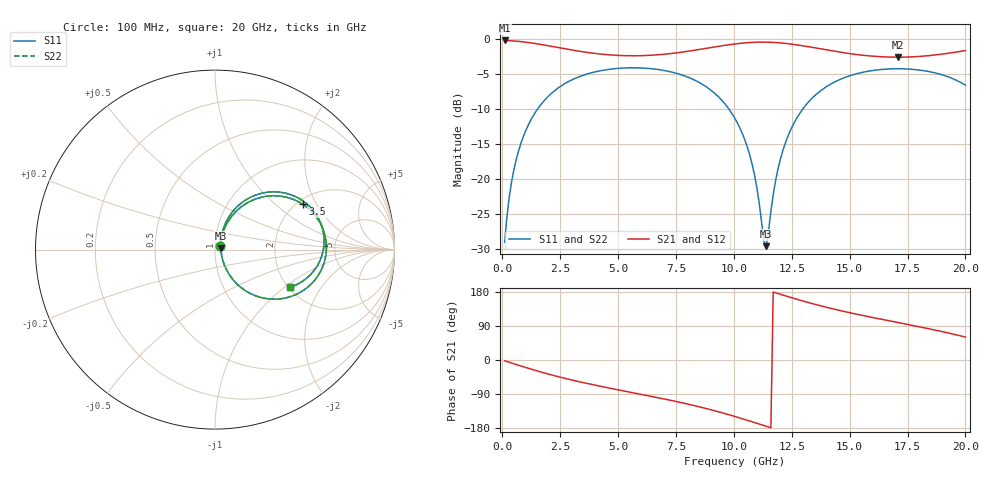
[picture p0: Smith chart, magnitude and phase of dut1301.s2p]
! Touchstone file exported from HFSS 2026.1.0
!  File:  C:/ffzhzh/LocalFiles/Ansys_Project_Files/temp_train_TSV_RDL_1301_1783333581_38820.aedt
!  Generated:  06:41:46 PM Jul  6, 2026
!  Design:  TSV_RDL
!  Project:  temp_train_TSV_RDL_1301_1783333581_38820
! Variables:
!  h_bsmrdl = 4.64um
!  h_ox = 20um
!  h_rdl = 5um
!  h_sub = 82.64um
!  h_tmrdl = 4.46um
!  h_tsv = 82.64um
!  h_via = 3um
!  l_bsmrdl = 678.13um
!  l_sub = 5134.24um
!  l_tmrdl = 649.44um
!  m_sub = 200um
!  pitch = 52.25um
!  r_tsv = 5.97um
!  s_tmrdl = 10um
!  w_bsmrdl = 22.42um
!  w_sub = 500um
!  w_tmrdl = 11.61um
!  x_tsv_center1 = 655.245um
!  x_tsv_center2 = 1355.795um
!  x_tsv_center3 = 2016.845um
!  x_tsv_center4 = 2717.395um
!  x_tsv_center5 = 3378.445um
!  x_tsv_center6 = 4078.995um
# GHz S MA R 50.000000
! Terminal data exported
! Port[1] = TM_RDL1_1_T1
! Port[2] = TM_RDL5_1_T1
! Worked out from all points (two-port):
!   200 points, 100 MHz to 20 GHz, reference 50 ohm
!   highest |S21| = -0.24 dB at 100 MHz (marker M1); lowest = -2.6 dB at 17.1 GHz (marker M2)
!   |S21| within 3 dB of the highest: start of sweep to end of sweep
!   lowest |S11| = -29.6 dB at 11.4 GHz (marker M3), VSWR 1.07, Z = 53.3 + j0.878 ohm
!   |S11| at or under -10 dB: start of sweep to 1.53 GHz; 9.78 GHz to 12.98 GHz (3.204 GHz wide, 28.2 % of centre)
!   |S22| runs from -29.5 to -4.1 dB; largest |S21 - S12| = 1.7e-14
!   S11 on the Smith chart (normalised r, x): 100 MHz: 1.05, +0.05; 3.5 GHz: 2.14, +1.55; 20 GHz: 2.03, -1.09
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0.1  0.03532 39.5  0.9733 -2.0  0.9733 -2.0  0.03532 39.5
! Gamma 0 0 0 0
! Port Impedance 50 0 50 0
0.3  0.07409 62.0  0.97 -6.1  0.97 -6.1  0.07409 62.0
0.5  0.1161 65.8  0.9652 -10.0  0.9652 -10.0  0.1161 65.8
1.1  0.2381 61.5  0.9422 -21.5  0.9422 -21.5  0.2381 61.5
2.1  0.4048 46.9  0.885 -39.0  0.885 -39.0  0.4048 46.9
3.5  0.5497 27.5  0.8067 -59.7  0.8067 -59.7  0.5497 27.5
5.1  0.6166 8.2  0.7598 -79.9  0.7598 -79.9  0.6166 8.2
6.8  0.6013 -11.3  0.7708 -100.4  0.7708 -100.4  0.6013 -11.3
8.8  0.4556 -37.0  0.8547 -128.0  0.8547 -128.0  0.4556 -37.0
10.1  0.2604 -55.3  0.9213 -150.0  0.9213 -150.0  0.2604 -55.2
10.8  0.1251 -60.2  0.9431 -163.2  0.9431 -163.2  0.1252 -60.1
11.3  0.03583 -19.6  0.9473 -172.9  0.9473 -172.9  0.03602 -19.4
11.4  0.03308 14.4  0.9468 -174.8  0.9468 -174.8  0.03331 14.4
11.8  0.09658 66.3  0.9409 177.4  0.9409 177.4  0.09668 66.2
12.1  0.1559 68.4  0.9323 171.7  0.9323 171.7  0.156 68.3
12.7  0.2683 62.8  0.9066 160.6  0.9066 160.6  0.2684 62.7
13.4  0.3797 53.2  0.8682 148.6  0.8682 148.6  0.3797 53.2
14.8  0.5302 34.5  0.7929 127.6  0.7929 127.6  0.5302 34.5
16.7  0.6093 12.2  0.7407 103.5  0.7407 103.5  0.6094 12.2
17.1  0.6115 7.8  0.7393 98.7  0.7393 98.7  0.6115 7.7
18.6  0.5757 -9.3  0.7637 80.2  0.7637 80.2  0.5757 -9.3
20  0.4667 -26.8  0.8242 60.5  0.8242 60.5  0.4667 -26.8
